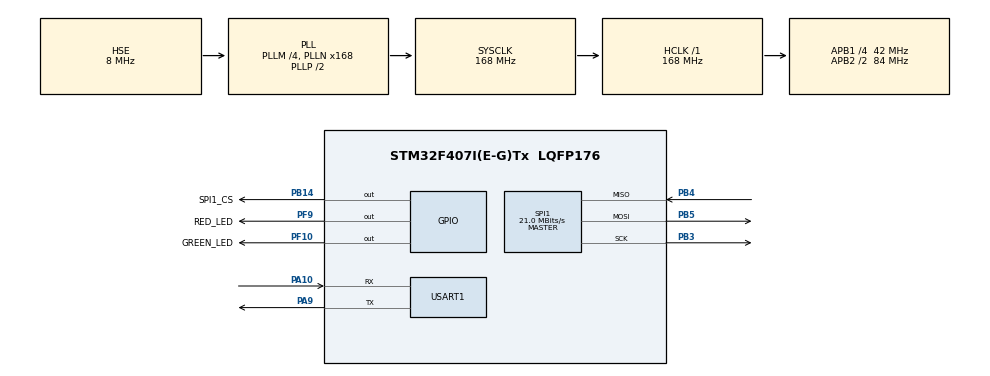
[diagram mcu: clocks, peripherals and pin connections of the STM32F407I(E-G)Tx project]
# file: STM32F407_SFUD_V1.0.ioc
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FREERTOS.Tasks01=RunLED,24,256,RunLEDTask,Default,NULL,Dynamic,NULL,NULL;SFUD_Server,16,256,SFUD_ServerTask,Default,NULL,Dynamic,NULL,NULL
Mcu.Family=STM32F4
Mcu.Name=STM32F407I(E-G)Tx
Mcu.Package=LQFP176
NVIC.PriorityGroup=NVIC_PRIORITYGROUP_4
NVIC.TIM6_DAC_IRQn=true\:15\:0\:false\:false\:true\:false\:false\:true\:true
NVIC.TimeBase=TIM6_DAC_IRQn
NVIC.TimeBaseIP=TIM6
PA10.Mode=Asynchronous
PA10.Signal=USART1_RX
PA13.Mode=Serial_Wire
PA13.Signal=SYS_JTMS-SWDIO
PA14.Mode=Serial_Wire
PA14.Signal=SYS_JTCK-SWCLK
PA9.Mode=Asynchronous
PA9.Signal=USART1_TX
PB14.GPIO_Label=SPI1_CS
PB14.GPIO_Speed=GPIO_SPEED_FREQ_VERY_HIGH
PB14.PinState=GPIO_PIN_SET
PB14.Signal=GPIO_Output
PB3.Mode=Full_Duplex_Master
PB3.Signal=SPI1_SCK
PB4.Mode=Full_Duplex_Master
PB4.Signal=SPI1_MISO
PB5.Mode=Full_Duplex_Master
PB5.Signal=SPI1_MOSI
PC14-OSC32_IN.Mode=LSE-External-Oscillator
PC14-OSC32_IN.Signal=RCC_OSC32_IN
PC15-OSC32_OUT.Mode=LSE-External-Oscillator
PC15-OSC32_OUT.Signal=RCC_OSC32_OUT
PF10.GPIO_Label=GREEN_LED
PF10.GPIO_Speed=GPIO_SPEED_FREQ_MEDIUM
PF10.PinState=GPIO_PIN_SET
PF10.Signal=GPIO_Output
PF9.GPIO_Label=RED_LED
PF9.GPIO_Speed=GPIO_SPEED_FREQ_MEDIUM
PF9.PinState=GPIO_PIN_SET
PF9.Signal=GPIO_Output
PH0-OSC_IN.Mode=HSE-External-Oscillator
PH0-OSC_IN.Signal=RCC_OSC_IN
PH1-OSC_OUT.Mode=HSE-External-Oscillator
PH1-OSC_OUT.Signal=RCC_OSC_OUT
ProjectManager.HeapSize=0x400
ProjectManager.StackSize=0x800
ProjectManager.TargetToolchain=MDK-ARM V5.32
RCC.48MHZClocksFreq_Value=84000000
RCC.AHBFreq_Value=168000000
RCC.APB1CLKDivider=RCC_HCLK_DIV4
RCC.APB1Freq_Value=42000000
RCC.APB1TimFreq_Value=84000000
RCC.APB2CLKDivider=RCC_HCLK_DIV2
RCC.APB2Freq_Value=84000000
RCC.APB2TimFreq_Value=168000000
RCC.CortexFreq_Value=168000000
RCC.HCLKFreq_Value=168000000
RCC.HSE_VALUE=8000000
RCC.HSI_VALUE=16000000
RCC.PLLM=4
RCC.PLLN=168
RCC.PLLSourceVirtual=RCC_PLLSOURCE_HSE
RCC.RCC_RTC_Clock_SourceVirtual=RCC_RTCCLKSOURCE_LSE
RCC.RCC_RTC_Clock_Source_FROM_HSE=RCC_RTCCLKSOURCE_HSE_DIV8
RCC.SYSCLKFreq_VALUE=168000000
RCC.SYSCLKSource=RCC_SYSCLKSOURCE_PLLCLK
RCC.VCOOutputFreq_Value=336000000
RTC.Date=31
RTC.Format=RTC_FORMAT_BIN
RTC.Hours=23
RTC.Minutes=45
RTC.Month=RTC_MONTH_MAY
RTC.WeekDay=RTC_WEEKDAY_SATURDAY
RTC.Year=25
SPI1.BaudRatePrescaler=SPI_BAUDRATEPRESCALER_4
SPI1.CLKPhase=SPI_PHASE_2EDGE
SPI1.CLKPolarity=SPI_POLARITY_HIGH
SPI1.CalculateBaudRate=21.0 MBits/s
SPI1.Direction=SPI_DIRECTION_2LINES
SPI1.Mode=SPI_MODE_MASTER
SPI1.VirtualType=VM_MASTER
USART1.VirtualMode=VM_ASYNC
VP_FREERTOS_VS_CMSIS_V2.Mode=CMSIS_V2
VP_RTC_VS_RTC_Activate.Mode=RTC_Enabled
VP_RTC_VS_RTC_Calendar.Mode=RTC_Calendar
VP_SYS_VS_tim6.Mode=TIM6
board=custom

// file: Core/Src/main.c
/* USER CODE BEGIN Header */
/**
 ******************************************************************************
 * @file           : main.c
 * @brief          : Main program body
 ******************************************************************************
 * @attention
 *
 * Copyright (c) 2025 STMicroelectronics.
 * All rights reserved.
 *
 * This software is licensed under terms that can be found in the LICENSE file
 * in the root directory of this software component.
 * If no LICENSE file comes with this software, it is provided AS-IS.
 *
 ******************************************************************************
 */
/* USER CODE END Header */
#include "main.h"
#include "cmsis_os.h"
#include "rtc.h"
#include "spi.h"
#include "usart.h"
#include "gpio.h"

/* USER CODE BEGIN Includes */
#include "dwt.h"
#include <stdio.h>
#include <stdlib.h>

/* USER CODE END Includes */

void SystemClock_Config(void);
void MX_FREERTOS_Init(void);

int main(void)
{

  /* USER CODE BEGIN 1 */
  static RTC_TimeTypeDef time;
  static RTC_DateTypeDef date;
  /* USER CODE END 1 */

  /* MCU Configuration--------------------------------------------------------*/

  /* Reset of all peripherals, Initializes the Flash interface and the Systick. */
  HAL_Init();

  /* Configure the system clock */
  SystemClock_Config();

  /* Initialize all configured peripherals */
  MX_GPIO_Init();
  MX_RTC_Init();
  MX_USART1_UART_Init();
  MX_SPI1_Init();
  /* USER CODE BEGIN 2 */
  DWT_Init(); /* DWT 初始化 */

  // printf("HelloWorld!\r\n");
  HAL_RTC_GetTime(&hrtc, &time, RTC_FORMAT_BIN);
  HAL_RTC_GetDate(&hrtc, &date, RTC_FORMAT_BIN);
  printf("RTC: 20%02d/%02d/%02d  %02d:%02d:%02d\r\n",
         date.Year, date.Month, date.Date, time.Hours, time.Minutes, time.Seconds);

  /* USER CODE END 2 */

  /* Init scheduler */
  osKernelInitialize();

  /* Call init function for freertos objects (in cmsis_os2.c) */
  MX_FREERTOS_Init();

  /* Start scheduler */
  osKernelStart();

  /* We should never get here as control is now taken by the scheduler */

  /* Infinite loop */
  while (1)
  {

  }
}

void SystemClock_Config(void)
{
  RCC_OscInitTypeDef RCC_OscInitStruct = {0};
  RCC_ClkInitTypeDef RCC_ClkInitStruct = {0};

  /** Configure the main internal regulator output voltage
  */
  __HAL_RCC_PWR_CLK_ENABLE();
  __HAL_PWR_VOLTAGESCALING_CONFIG(PWR_REGULATOR_VOLTAGE_SCALE1);

  /** Initializes the RCC Oscillators according to the specified parameters
  * in the RCC_OscInitTypeDef structure.
  */
  RCC_OscInitStruct.OscillatorType = RCC_OSCILLATORTYPE_HSE|RCC_OSCILLATORTYPE_LSE;
  RCC_OscInitStruct.HSEState = RCC_HSE_ON;
  RCC_OscInitStruct.LSEState = RCC_LSE_ON;
  RCC_OscInitStruct.PLL.PLLState = RCC_PLL_ON;
  RCC_OscInitStruct.PLL.PLLSource = RCC_PLLSOURCE_HSE;
  RCC_OscInitStruct.PLL.PLLM = 4;
  RCC_OscInitStruct.PLL.PLLN = 168;
  RCC_OscInitStruct.PLL.PLLP = RCC_PLLP_DIV2;
  RCC_OscInitStruct.PLL.PLLQ = 4;
  if (HAL_RCC_OscConfig(&RCC_OscInitStruct) != HAL_OK)
  {
    Error_Handler();
  }

  /** Initializes the CPU, AHB and APB buses clocks
  */
  RCC_ClkInitStruct.ClockType = RCC_CLOCKTYPE_HCLK|RCC_CLOCKTYPE_SYSCLK
                              |RCC_CLOCKTYPE_PCLK1|RCC_CLOCKTYPE_PCLK2;
  RCC_ClkInitStruct.SYSCLKSource = RCC_SYSCLKSOURCE_PLLCLK;
  RCC_ClkInitStruct.AHBCLKDivider = RCC_SYSCLK_DIV1;
  RCC_ClkInitStruct.APB1CLKDivider = RCC_HCLK_DIV4;
  RCC_ClkInitStruct.APB2CLKDivider = RCC_HCLK_DIV2;

  if (HAL_RCC_ClockConfig(&RCC_ClkInitStruct, FLASH_LATENCY_5) != HAL_OK)
  {
    Error_Handler();
  }
}

void HAL_TIM_PeriodElapsedCallback(TIM_HandleTypeDef *htim)
{
  if (htim->Instance == TIM6)
  {
    HAL_IncTick();
  }
}

void Error_Handler(void)
{
  __disable_irq();
  while (1)
  {
  }
}

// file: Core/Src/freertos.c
/* USER CODE BEGIN Header */
/**
 ******************************************************************************
 * File Name          : freertos.c
 * Description        : Code for freertos applications
 ******************************************************************************
 * @attention
 *
 * Copyright (c) 2025 STMicroelectronics.
 * All rights reserved.
 *
 * This software is licensed under terms that can be found in the LICENSE file
 * in the root directory of this software component.
 * If no LICENSE file comes with this software, it is provided AS-IS.
 *
 ******************************************************************************
 */
/* USER CODE END Header */

#include "FreeRTOS.h"
#include "task.h"
#include "main.h"
#include "cmsis_os.h"

/* USER CODE BEGIN Includes */
#include "usart.h"
#include "gpio.h"
#include "sfud.h"
#include "sfud_app.h"

/* USER CODE END Includes */

/* USER CODE BEGIN PTD */
// #define SFUD_DEMO_TEST_BUFFER_SIZE 2 * 1024
// static uint8_t sfud_demo_test_buf[SFUD_DEMO_TEST_BUFFER_SIZE];

/* USER CODE END PTD */

/* Definitions for RunLED */
osThreadId_t RunLEDHandle;
const osThreadAttr_t RunLED_attributes = {
    .name = "RunLED",
    .stack_size = 256 * 4,
    .priority = (osPriority_t)osPriorityNormal,
};
/* Definitions for SFUD_Server */
osThreadId_t SFUD_ServerHandle;
const osThreadAttr_t SFUD_Server_attributes = {
    .name = "SFUD_Server",
    .stack_size = 256 * 4,
    .priority = (osPriority_t)osPriorityBelowNormal,
};

void RunLEDTask(void *argument);
void SFUD_ServerTask(void *argument);

void MX_FREERTOS_Init(void); /* (MISRA C 2004 rule 8.1) */

void MX_FREERTOS_Init(void)
{

  /* Create the thread(s) */
  /* creation of RunLED */
  RunLEDHandle = osThreadNew(RunLEDTask, NULL, &RunLED_attributes);

  /* creation of SFUD_Server */
  SFUD_ServerHandle = osThreadNew(SFUD_ServerTask, NULL, &SFUD_Server_attributes);

}

void RunLEDTask(void *argument)
{
  /* USER CODE BEGIN RunLEDTask */

  /* Infinite loop */
  for (;;)
  {
    RED_LED(0);
    GREEN_LED(0);
    osDelay(50);
    RED_LED(1);
    GREEN_LED(1);
    osDelay(50);
    RED_LED(0);
    GREEN_LED(0);
    osDelay(50);
    RED_LED(1);
    GREEN_LED(1);
    osDelay(200);
  }
  /* USER CODE END RunLEDTask */
}

void SFUD_ServerTask(void *argument)
{
  /* USER CODE BEGIN SFUD_ServerTask */
  // if (sfud_init() != SFUD_SUCCESS)
  //   printf("sfud_init False!\r\n");
  // else
  //   sfud_demo(0, sizeof(sfud_demo_test_buf), sfud_demo_test_buf);

  /* Infinite loop */
  for (;;)
  {

    osDelay(1000);
  }
  /* USER CODE END SFUD_ServerTask */
}
